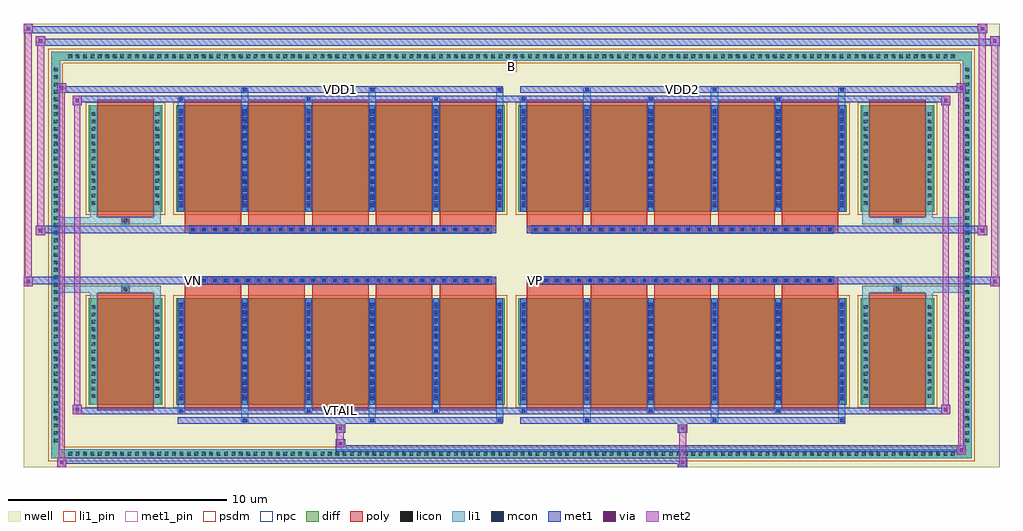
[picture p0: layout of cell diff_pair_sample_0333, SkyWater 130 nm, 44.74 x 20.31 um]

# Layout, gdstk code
import gdstk
lib = gdstk.Library(unit=1e-6, precision=5e-09)
def R(c, l, rs):  # rectangles x0, y0, x1, y1
    for r in rs: c.add(gdstk.rectangle(r[:2], r[2:], *l))
def A(c, l, x, y, w, h, nx, ny, dx, dy):  # array of equal rectangles
    R(c, l, [(x+i*dx, y+j*dy, x+i*dx+w, y+j*dy+h) for i in range(nx) for j in range(ny)])
def P(c, l, *ps):  # polygons
    for p in ps: c.add(gdstk.Polygon(p, *l))
nwell = (64, 20)
diff = (65, 20)
poly = (66, 20)
licon = (66, 44)
li1_pin = (67, 16)
li1 = (67, 20)
mcon = (67, 44)
met1_pin = (68, 16)
met1 = (68, 20)
via = (68, 44)
met2 = (69, 20)
psdm = (94, 20)
npc = (95, 20)

diff_pair_sample_0333 = lib.new_cell('diff_pair_sample_0333')
R(diff_pair_sample_0333, nwell, [(-22.37,-9.72,22.37,10.59), (-19.69,-7.91,-0.01,-0.805), (0.01,-7.91,19.69,-0.805), (-19.69,0.805,-0.01,7.91), (0.01,0.805,19.69,7.91)])
A(diff_pair_sample_0333, diff, -20.435, -9.32, 0.41, 0.41, 120, 2, 0.34, 18.23)
A(diff_pair_sample_0333, diff, -21.1, -8.705, 0.41, 0.41, 1, 51, 0, 0.34)
A(diff_pair_sample_0333, diff, 20.69, -8.705, 0.41, 0.41, 1, 51, 0, 0.34)
R(diff_pair_sample_0333, diff, [(-20.435,-9.32,20.435,-8.91), (-21.1,-8.705,-20.69,8.705), (20.69,-8.705,21.1,8.705), (-19.38,-6.865,-16.01,-1.985), (-15.37,-6.865,-0.32,-1.985), (0.32,-6.865,15.37,-1.985), (16.01,-6.865,19.38,-1.985), (-19.38,1.985,-16.01,6.865), (-15.37,1.985,-0.32,6.865), (0.32,1.985,15.37,6.865), (16.01,1.985,19.38,6.865), (-20.435,8.91,20.435,9.32)])
P(diff_pair_sample_0333, diff, [(21.1,9.32),(-21.1,9.32),(-21.1,-8.91),(-20.69,-8.91),(-20.69,8.91),(20.69,8.91),(20.69,-8.91),(-20.69,-8.91),(-21.1,-8.91),(-21.1,-9.32),(21.1,-9.32)])
A(diff_pair_sample_0333, poly, -14.98, -7.115, 2.59, 5.38, 5, 2, 2.92, 8.85)
A(diff_pair_sample_0333, poly, 0.71, -7.115, 2.59, 5.38, 5, 2, 2.92, 8.85)
A(diff_pair_sample_0333, poly, -14.98, -1.735, 2.59, 0.4, 5, 2, 2.92, 3.07)
A(diff_pair_sample_0333, poly, 0.71, -1.735, 2.59, 0.4, 5, 2, 2.92, 3.07)
A(diff_pair_sample_0333, poly, -14.76, -1.335, 0.33, 0.33, 28, 2, 0.5, 2.34)
A(diff_pair_sample_0333, poly, 0.93, -1.335, 0.33, 0.33, 28, 2, 0.5, 2.34)
R(diff_pair_sample_0333, poly, [(-18.99,-7.115,-16.4,-1.735), (16.4,-7.115,18.99,-1.735), (-17.86,-1.735,-17.53,-1.405), (-17.86,-1.735,-17.53,-1.405), (17.53,-1.735,17.86,-1.405), (17.53,-1.735,17.86,-1.405), (-14.98,-1.335,-0.71,-1.005), (0.71,-1.335,14.98,-1.005), (-14.98,1.005,-0.71,1.335), (0.71,1.005,14.98,1.335), (-17.86,1.405,-17.53,1.735), (-17.86,1.405,-17.53,1.735), (17.53,1.405,17.86,1.735), (17.53,1.405,17.86,1.735), (-18.99,1.735,-16.4,7.115), (16.4,1.735,18.99,7.115)])
A(diff_pair_sample_0333, licon, -20.315, -9.2, 0.17, 0.17, 120, 2, 0.34, 18.23)
A(diff_pair_sample_0333, licon, -20.98, -8.585, 0.17, 0.17, 1, 51, 0, 0.34)
A(diff_pair_sample_0333, licon, 20.81, -8.585, 0.17, 0.17, 1, 51, 0, 0.34)
A(diff_pair_sample_0333, licon, -19.24, -6.55, 0.17, 0.17, 1, 13, 0, 0.34)
A(diff_pair_sample_0333, licon, -16.32, -6.55, 0.17, 0.17, 1, 13, 0, 0.34)
A(diff_pair_sample_0333, licon, -15.23, -6.55, 0.17, 0.17, 6, 13, 2.92, 0.34)
A(diff_pair_sample_0333, licon, 0.46, -6.55, 0.17, 0.17, 6, 13, 2.92, 0.34)
A(diff_pair_sample_0333, licon, 16.15, -6.55, 0.17, 0.17, 1, 13, 0, 0.34)
A(diff_pair_sample_0333, licon, 19.07, -6.55, 0.17, 0.17, 1, 13, 0, 0.34)
A(diff_pair_sample_0333, licon, -14.68, -1.255, 0.17, 0.17, 28, 2, 0.5, 2.34)
A(diff_pair_sample_0333, licon, 1.01, -1.255, 0.17, 0.17, 28, 2, 0.5, 2.34)
A(diff_pair_sample_0333, licon, -19.24, 2.3, 0.17, 0.17, 1, 13, 0, 0.34)
A(diff_pair_sample_0333, licon, -16.32, 2.3, 0.17, 0.17, 1, 13, 0, 0.34)
A(diff_pair_sample_0333, licon, -15.23, 2.3, 0.17, 0.17, 6, 13, 2.92, 0.34)
A(diff_pair_sample_0333, licon, 0.46, 2.3, 0.17, 0.17, 6, 13, 2.92, 0.34)
A(diff_pair_sample_0333, licon, 16.15, 2.3, 0.17, 0.17, 1, 13, 0, 0.34)
A(diff_pair_sample_0333, licon, 19.07, 2.3, 0.17, 0.17, 1, 13, 0, 0.34)
R(diff_pair_sample_0333, licon, [(-17.78,-1.655,-17.61,-1.485), (17.61,-1.655,17.78,-1.485), (-17.78,1.485,-17.61,1.655), (17.61,1.485,17.78,1.655)])
R(diff_pair_sample_0333, li1_pin, [(-0.25,8.41,0.25,8.91)])
A(diff_pair_sample_0333, li1, -20.395, -9.28, 0.33, 0.33, 120, 2, 0.34, 18.23)
A(diff_pair_sample_0333, li1, -21.06, -8.665, 0.33, 0.33, 1, 51, 0, 0.34)
A(diff_pair_sample_0333, li1, 20.73, -8.665, 0.33, 0.33, 1, 51, 0, 0.34)
A(diff_pair_sample_0333, li1, -12.39, -7.67, 0.33, 0.805, 3, 2, 5.84, 14.535)
A(diff_pair_sample_0333, li1, -12.31, -7.67, 0.17, 0.17, 3, 2, 5.84, 15.17)
A(diff_pair_sample_0333, li1, 3.3, -7.67, 0.33, 0.805, 3, 2, 5.84, 14.535)
A(diff_pair_sample_0333, li1, 3.38, -7.67, 0.17, 0.17, 3, 2, 5.84, 15.17)
A(diff_pair_sample_0333, li1, -15.31, -7.24, 0.33, 0.375, 3, 2, 5.84, 14.105)
A(diff_pair_sample_0333, li1, -15.23, -7.24, 0.17, 0.17, 3, 2, 5.84, 14.31)
A(diff_pair_sample_0333, li1, 0.38, -7.24, 0.33, 0.375, 3, 2, 5.84, 14.105)
A(diff_pair_sample_0333, li1, 0.46, -7.24, 0.17, 0.17, 3, 2, 5.84, 14.31)
A(diff_pair_sample_0333, li1, -15.31, -6.865, 0.33, 4.88, 6, 2, 2.92, 8.85)
A(diff_pair_sample_0333, li1, 0.38, -6.865, 0.33, 4.88, 6, 2, 2.92, 8.85)
A(diff_pair_sample_0333, li1, -15.23, -6.67, 0.17, 0.17, 6, 13, 2.92, 0.36)
A(diff_pair_sample_0333, li1, -15.23, -6.67, 0.17, 4.49, 6, 2, 2.92, 8.85)
A(diff_pair_sample_0333, li1, 0.46, -6.67, 0.17, 0.17, 6, 13, 2.92, 0.36)
A(diff_pair_sample_0333, li1, 0.46, -6.67, 0.17, 4.49, 6, 2, 2.92, 8.85)
A(diff_pair_sample_0333, li1, -19.32, -6.63, 0.33, 0.33, 1, 13, 0, 0.34)
A(diff_pair_sample_0333, li1, -16.4, -6.63, 0.33, 0.33, 1, 13, 0, 0.34)
A(diff_pair_sample_0333, li1, -15.31, -6.63, 0.33, 0.33, 6, 13, 2.92, 0.34)
A(diff_pair_sample_0333, li1, 0.38, -6.63, 0.33, 0.33, 6, 13, 2.92, 0.34)
A(diff_pair_sample_0333, li1, 16.07, -6.63, 0.33, 0.33, 1, 13, 0, 0.34)
A(diff_pair_sample_0333, li1, 18.99, -6.63, 0.33, 0.33, 1, 13, 0, 0.34)
A(diff_pair_sample_0333, li1, -14.76, -1.335, 0.33, 0.33, 28, 2, 0.5, 2.34)
A(diff_pair_sample_0333, li1, 0.93, -1.335, 0.33, 0.33, 28, 2, 0.5, 2.34)
A(diff_pair_sample_0333, li1, -15.23, 2.18, 0.17, 0.17, 6, 13, 2.92, 0.36)
A(diff_pair_sample_0333, li1, 0.46, 2.18, 0.17, 0.17, 6, 13, 2.92, 0.36)
A(diff_pair_sample_0333, li1, -19.32, 2.22, 0.33, 0.33, 1, 13, 0, 0.34)
A(diff_pair_sample_0333, li1, -16.4, 2.22, 0.33, 0.33, 1, 13, 0, 0.34)
A(diff_pair_sample_0333, li1, -15.31, 2.22, 0.33, 0.33, 6, 13, 2.92, 0.34)
A(diff_pair_sample_0333, li1, 0.38, 2.22, 0.33, 0.33, 6, 13, 2.92, 0.34)
A(diff_pair_sample_0333, li1, 16.07, 2.22, 0.33, 0.33, 1, 13, 0, 0.34)
A(diff_pair_sample_0333, li1, 18.99, 2.22, 0.33, 0.33, 1, 13, 0, 0.34)
R(diff_pair_sample_0333, li1, [(-21.1,-9.32,-20.69,-8.91), (-21.1,-9.32,-20.69,-8.91), (-20.69,-9.32,20.69,-8.91), (20.69,-9.32,21.1,-8.91), (20.69,-9.32,21.1,-8.91), (-21.1,-8.91,-20.69,8.91), (20.69,-8.91,21.1,8.91), (-19.32,-6.865,-18.99,-1.985), (-16.4,-6.865,-16.07,-1.985), (16.07,-6.865,16.4,-1.985), (18.99,-6.865,19.32,-1.985), (-19.32,-1.985,-18.99,-1.405), (-16.4,-1.985,-16.07,-1.405), (16.07,-1.985,16.4,-1.405), (18.99,-1.985,19.32,-1.405), (-21.1,-1.735,-17.86,-1.405), (-19.32,-1.735,-17.86,-1.405), (-17.86,-1.735,-17.53,-1.405), (-17.53,-1.735,-16.07,-1.405), (16.07,-1.735,17.53,-1.405), (17.53,-1.735,17.86,-1.405), (17.53,-1.735,21.1,-1.405), (17.86,-1.735,19.32,-1.405), (-21.1,1.405,-17.86,1.735), (-19.32,1.405,-17.86,1.735), (-19.32,1.405,-18.99,1.985), (-17.86,1.405,-17.53,1.735), (-17.53,1.405,-16.07,1.735), (-16.4,1.405,-16.07,1.985), (16.07,1.405,17.53,1.735), (16.07,1.405,16.4,1.985), (17.53,1.405,17.86,1.735), (17.53,1.405,21.1,1.735), (17.86,1.405,19.32,1.735), (18.99,1.405,19.32,1.985), (-19.32,1.985,-18.99,6.865), (-16.4,1.985,-16.07,6.865), (16.07,1.985,16.4,6.865), (18.99,1.985,19.32,6.865), (-21.1,8.91,-20.69,9.32), (-21.1,8.91,-20.69,9.32), (-20.69,8.91,20.69,9.32), (20.69,8.91,21.1,9.32), (20.69,8.91,21.1,9.32)])
A(diff_pair_sample_0333, mcon, -12.31, -7.67, 0.17, 0.17, 3, 2, 5.84, 15.17)
A(diff_pair_sample_0333, mcon, 3.38, -7.67, 0.17, 0.17, 3, 2, 5.84, 15.17)
A(diff_pair_sample_0333, mcon, -15.23, -7.24, 0.17, 0.17, 3, 2, 5.84, 14.31)
A(diff_pair_sample_0333, mcon, 0.46, -7.24, 0.17, 0.17, 3, 2, 5.84, 14.31)
A(diff_pair_sample_0333, mcon, -15.23, -6.67, 0.17, 0.17, 6, 13, 2.92, 0.36)
A(diff_pair_sample_0333, mcon, 0.46, -6.67, 0.17, 0.17, 6, 13, 2.92, 0.36)
A(diff_pair_sample_0333, mcon, -14.68, -1.255, 0.17, 0.17, 28, 2, 0.5, 2.34)
A(diff_pair_sample_0333, mcon, 1.01, -1.255, 0.17, 0.17, 28, 2, 0.5, 2.34)
A(diff_pair_sample_0333, mcon, -15.23, 2.18, 0.17, 0.17, 6, 13, 2.92, 0.36)
A(diff_pair_sample_0333, mcon, 0.46, 2.18, 0.17, 0.17, 6, 13, 2.92, 0.36)
R(diff_pair_sample_0333, met1_pin, [(-7.98,-7.28,-7.71,-7.01), (-14.73,-1.295,-14.46,-1.025), (0.96,-1.295,1.23,-1.025), (-7.98,7.46,-7.71,7.73), (7.71,7.46,7.98,7.73)])
A(diff_pair_sample_0333, met1, -12.37, -7.73, 0.29, 0.29, 3, 2, 5.84, 15.17)
A(diff_pair_sample_0333, met1, 3.32, -7.73, 0.29, 0.29, 3, 2, 5.84, 15.17)
A(diff_pair_sample_0333, met1, -15.29, -7.3, 0.29, 0.29, 3, 2, 5.84, 14.31)
A(diff_pair_sample_0333, met1, 0.4, -7.3, 0.29, 0.29, 3, 2, 5.84, 14.31)
A(diff_pair_sample_0333, met1, -15.29, -6.865, 0.29, 4.88, 6, 2, 2.92, 8.85)
A(diff_pair_sample_0333, met1, 0.4, -6.865, 0.29, 4.88, 6, 2, 2.92, 8.85)
A(diff_pair_sample_0333, met1, -15.29, -6.73, 0.29, 0.29, 6, 13, 2.92, 0.36)
A(diff_pair_sample_0333, met1, 0.4, -6.73, 0.29, 0.29, 6, 13, 2.92, 0.36)
A(diff_pair_sample_0333, met1, -14.74, -1.315, 0.29, 0.29, 28, 2, 0.5, 2.34)
A(diff_pair_sample_0333, met1, 0.95, -1.315, 0.29, 0.29, 28, 2, 0.5, 2.34)
A(diff_pair_sample_0333, met1, -15.29, 2.12, 0.29, 0.29, 6, 13, 2.92, 0.36)
A(diff_pair_sample_0333, met1, 0.4, 2.12, 0.29, 0.29, 6, 13, 2.92, 0.36)
R(diff_pair_sample_0333, met1, [(-20.83,-9.72,-20.4,-9.29), (7.63,-9.72,8.06,-9.29), (-20.83,-9.58,8.06,-9.29), (20.4,-9.15,20.83,-8.72), (-8.06,-9.01,20.83,-8.72), (-8.06,-8.87,-7.63,-8.44), (-8.06,-8.16,-7.63,-7.73), (7.63,-8.16,8.06,-7.73), (-15.29,-7.73,-0.4,-7.44), (0.4,-7.73,15.29,-7.44), (-20.12,-7.3,-19.69,-6.87), (-20.12,-7.3,-15.29,-7.01), (-15.29,-7.3,-0.4,-7.01), (-0.4,-7.3,0.4,-7.01), (0.4,-7.3,15.29,-7.01), (15.29,-7.3,20.12,-7.01), (19.69,-7.3,20.12,-6.87), (-22.37,-1.435,-21.94,-1.005), (21.94,-1.435,22.37,-1.005), (-22.37,-1.335,-0.71,-1.005), (-14.98,-1.335,-0.71,-1.005), (0.71,-1.335,14.98,-1.005), (0.71,-1.335,22.37,-1.005), (-21.8,0.905,-21.37,1.335), (21.37,0.905,21.8,1.335), (-21.8,1.005,-14.98,1.335), (-14.98,1.005,-0.71,1.335), (0.71,1.005,14.98,1.335), (14.98,1.005,21.8,1.335), (-20.12,6.87,-19.69,7.3), (19.69,6.87,20.12,7.3), (-20.12,7.01,-15.29,7.3), (-15.29,7.01,-0.4,7.3), (-0.4,7.01,0.4,7.3), (0.4,7.01,15.29,7.3), (15.29,7.01,20.12,7.3), (-20.83,7.44,-20.4,7.87), (-20.83,7.44,-15.29,7.73), (-15.29,7.44,-0.4,7.73), (0.4,7.44,15.29,7.73), (15.29,7.44,20.83,7.73), (20.4,7.44,20.83,7.87), (-21.8,9.59,-21.37,10.02), (-21.8,9.59,-19.69,9.92), (-19.69,9.59,19.69,9.92), (19.69,9.59,22.37,9.92), (21.94,9.59,22.37,10.02), (-22.37,10.16,-21.94,10.59), (-22.37,10.16,-19.69,10.49), (-19.69,10.16,19.69,10.49), (19.69,10.16,21.8,10.49), (21.37,10.16,21.8,10.59)])
R(diff_pair_sample_0333, via, [(-20.69,-9.58,-20.54,-9.43), (7.77,-9.58,7.92,-9.43), (20.54,-9.01,20.69,-8.86), (-7.92,-8.73,-7.77,-8.58), (-7.92,-8.02,-7.77,-7.87), (7.77,-8.02,7.92,-7.87), (-19.98,-7.16,-19.83,-7.01), (19.83,-7.16,19.98,-7.01), (-22.23,-1.295,-22.08,-1.145), (22.08,-1.295,22.23,-1.145), (-21.66,1.045,-21.51,1.195), (21.51,1.045,21.66,1.195), (-19.98,7.01,-19.83,7.16), (19.83,7.01,19.98,7.16), (-20.69,7.58,-20.54,7.73), (20.54,7.58,20.69,7.73), (-21.66,9.73,-21.51,9.88), (22.08,9.73,22.23,9.88), (-22.23,10.3,-22.08,10.45), (21.51,10.3,21.66,10.45)])
R(diff_pair_sample_0333, met2, [(-20.83,-9.72,-20.4,-9.29), (-20.76,-9.72,-20.47,7.87), (-20.47,-9.72,-20.4,-9.29), (-20.78,-9.67,-20.45,-9.34), (7.68,-9.67,8.01,-9.34), (7.68,-9.34,8.01,-8.11), (20.4,-9.15,20.83,-8.72), (20.47,-9.15,20.76,7.87), (20.76,-9.15,20.83,-8.72), (20.45,-9.1,20.78,-8.77), (-8.01,-8.82,-7.68,-8.49), (-8.01,-8.49,-7.68,-8.11), (-8.01,-8.11,-7.68,-7.78), (7.68,-8.11,8.01,-7.78), (-20.12,-7.3,-19.69,-6.87), (-20.05,-7.3,-19.76,7.3), (-19.76,-7.3,-19.69,-6.87), (19.69,-7.3,20.12,-6.87), (19.76,-7.3,20.05,7.3), (20.05,-7.3,20.12,-6.87), (-20.07,-7.25,-19.74,-6.92), (19.74,-7.25,20.07,-6.92), (-22.37,-1.435,-21.94,-1.005), (-22.32,-1.435,-21.99,10.59), (-21.99,-1.435,-21.94,-1.005), (21.94,-1.435,22.37,-1.005), (21.99,-1.435,22.32,10.02), (22.32,-1.435,22.37,-1.005), (-22.32,-1.385,-21.99,-1.055), (21.99,-1.385,22.32,-1.055), (-21.8,0.905,-21.37,1.335), (-21.75,0.905,-21.42,10.02), (-21.42,0.905,-21.37,1.335), (21.37,0.905,21.8,1.335), (21.42,0.905,21.75,10.59), (21.75,0.905,21.8,1.335), (-21.75,0.955,-21.42,1.285), (21.42,0.955,21.75,1.285), (-20.12,6.87,-19.69,7.3), (-19.76,6.87,-19.69,7.3), (19.69,6.87,20.12,7.3), (20.05,6.87,20.12,7.3), (-20.07,6.92,-19.74,7.25), (19.74,6.92,20.07,7.25), (-20.83,7.44,-20.4,7.87), (-20.47,7.44,-20.4,7.87), (20.4,7.44,20.83,7.87), (20.76,7.44,20.83,7.87), (-20.78,7.49,-20.45,7.82), (20.45,7.49,20.78,7.82), (-21.8,9.59,-21.37,10.02), (-21.42,9.59,-21.37,10.02), (21.94,9.59,22.37,10.02), (22.32,9.59,22.37,10.02), (-21.75,9.64,-21.42,9.97), (21.99,9.64,22.32,9.97), (-22.37,10.16,-21.94,10.59), (-21.99,10.16,-21.94,10.59), (21.37,10.16,21.8,10.59), (21.75,10.16,21.8,10.59), (-22.32,10.21,-21.99,10.54), (21.42,10.21,21.75,10.54)])
R(diff_pair_sample_0333, psdm, [(-19.51,-6.995,-15.88,-1.855), (-15.5,-6.995,-0.19,-1.855), (0.19,-6.995,15.5,-1.855), (15.88,-6.995,19.51,-1.855), (-19.51,1.855,-15.88,6.995), (-15.5,1.855,-0.19,6.995), (0.19,1.855,15.5,6.995), (15.88,1.855,19.51,6.995)])
P(diff_pair_sample_0333, psdm, [(21.23,9.45),(-21.23,9.45),(-21.23,-8.78),(-20.56,-8.78),(-20.56,8.78),(20.56,8.78),(20.56,-8.78),(-20.56,-8.78),(-21.23,-8.78),(-21.23,-9.45),(21.23,-9.45)])
A(diff_pair_sample_0333, npc, -14.78, -1.355, 0.37, 0.37, 28, 2, 0.5, 2.34)
A(diff_pair_sample_0333, npc, 0.91, -1.355, 0.37, 0.37, 28, 2, 0.5, 2.34)
R(diff_pair_sample_0333, npc, [(-17.88,-1.755,-17.51,-1.385), (17.51,-1.755,17.88,-1.385), (-14.78,-1.355,-13.91,-0.985), (-14.78,-1.355,-13.91,-0.985), (-14.28,-1.355,-13.41,-0.985), (-14.28,-1.355,-13.41,-0.985), (-13.78,-1.355,-12.91,-0.985), (-13.78,-1.355,-12.91,-0.985), (-13.28,-1.355,-12.41,-0.985), (-13.28,-1.355,-12.41,-0.985), (-12.78,-1.355,-11.91,-0.985), (-12.78,-1.355,-11.91,-0.985), (-12.28,-1.355,-11.41,-0.985), (-12.28,-1.355,-11.41,-0.985), (-11.78,-1.355,-10.91,-0.985), (-11.78,-1.355,-10.91,-0.985), (-11.28,-1.355,-10.41,-0.985), (-11.28,-1.355,-10.41,-0.985), (-10.78,-1.355,-9.91,-0.985), (-10.78,-1.355,-9.91,-0.985), (-10.28,-1.355,-9.41,-0.985), (-10.28,-1.355,-9.41,-0.985), (-9.78,-1.355,-8.91,-0.985), (-9.78,-1.355,-8.91,-0.985), (-9.28,-1.355,-8.41,-0.985), (-9.28,-1.355,-8.41,-0.985), (-8.78,-1.355,-7.91,-0.985), (-8.78,-1.355,-7.91,-0.985), (-8.28,-1.355,-7.41,-0.985), (-8.28,-1.355,-7.41,-0.985), (-7.78,-1.355,-6.91,-0.985), (-7.78,-1.355,-6.91,-0.985), (-7.28,-1.355,-6.41,-0.985), (-7.28,-1.355,-6.41,-0.985), (-6.78,-1.355,-5.91,-0.985), (-6.78,-1.355,-5.91,-0.985), (-6.28,-1.355,-5.41,-0.985), (-6.28,-1.355,-5.41,-0.985), (-5.78,-1.355,-4.91,-0.985), (-5.78,-1.355,-4.91,-0.985), (-5.28,-1.355,-4.41,-0.985), (-5.28,-1.355,-4.41,-0.985), (-4.78,-1.355,-3.91,-0.985), (-4.78,-1.355,-3.91,-0.985), (-4.28,-1.355,-3.41,-0.985), (-4.28,-1.355,-3.41,-0.985), (-3.78,-1.355,-2.91,-0.985), (-3.78,-1.355,-2.91,-0.985), (-3.28,-1.355,-2.41,-0.985), (-3.28,-1.355,-2.41,-0.985), (-2.78,-1.355,-1.91,-0.985), (-2.78,-1.355,-1.91,-0.985), (-2.28,-1.355,-1.41,-0.985), (-2.28,-1.355,-1.41,-0.985), (-1.78,-1.355,-0.91,-0.985), (-1.78,-1.355,-0.91,-0.985), (0.91,-1.355,1.78,-0.985), (0.91,-1.355,1.78,-0.985), (1.41,-1.355,2.28,-0.985), (1.41,-1.355,2.28,-0.985), (1.91,-1.355,2.78,-0.985), (1.91,-1.355,2.78,-0.985), (2.41,-1.355,3.28,-0.985), (2.41,-1.355,3.28,-0.985), (2.91,-1.355,3.78,-0.985), (2.91,-1.355,3.78,-0.985), (3.41,-1.355,4.28,-0.985), (3.41,-1.355,4.28,-0.985), (3.91,-1.355,4.78,-0.985), (3.91,-1.355,4.78,-0.985), (4.41,-1.355,5.28,-0.985), (4.41,-1.355,5.28,-0.985), (4.91,-1.355,5.78,-0.985), (4.91,-1.355,5.78,-0.985), (5.41,-1.355,6.28,-0.985), (5.41,-1.355,6.28,-0.985), (5.91,-1.355,6.78,-0.985), (5.91,-1.355,6.78,-0.985), (6.41,-1.355,7.28,-0.985), (6.41,-1.355,7.28,-0.985), (6.91,-1.355,7.78,-0.985), (6.91,-1.355,7.78,-0.985), (7.41,-1.355,8.28,-0.985), (7.41,-1.355,8.28,-0.985), (7.91,-1.355,8.78,-0.985), (7.91,-1.355,8.78,-0.985), (8.41,-1.355,9.28,-0.985), (8.41,-1.355,9.28,-0.985), (8.91,-1.355,9.78,-0.985), (8.91,-1.355,9.78,-0.985), (9.41,-1.355,10.28,-0.985), (9.41,-1.355,10.28,-0.985), (9.91,-1.355,10.78,-0.985), (9.91,-1.355,10.78,-0.985), (10.41,-1.355,11.28,-0.985), (10.41,-1.355,11.28,-0.985), (10.91,-1.355,11.78,-0.985), (10.91,-1.355,11.78,-0.985), (11.41,-1.355,12.28,-0.985), (11.41,-1.355,12.28,-0.985), (11.91,-1.355,12.78,-0.985), (11.91,-1.355,12.78,-0.985), (12.41,-1.355,13.28,-0.985), (12.41,-1.355,13.28,-0.985), (12.91,-1.355,13.78,-0.985), (12.91,-1.355,13.78,-0.985), (13.41,-1.355,14.28,-0.985), (13.41,-1.355,14.28,-0.985), (13.91,-1.355,14.78,-0.985), (13.91,-1.355,14.78,-0.985), (-14.78,0.985,-13.91,1.355), (-14.78,0.985,-13.91,1.355), (-14.28,0.985,-13.41,1.355), (-14.28,0.985,-13.41,1.355), (-13.78,0.985,-12.91,1.355), (-13.78,0.985,-12.91,1.355), (-13.28,0.985,-12.41,1.355), (-13.28,0.985,-12.41,1.355), (-12.78,0.985,-11.91,1.355), (-12.78,0.985,-11.91,1.355), (-12.28,0.985,-11.41,1.355), (-12.28,0.985,-11.41,1.355), (-11.78,0.985,-10.91,1.355), (-11.78,0.985,-10.91,1.355), (-11.28,0.985,-10.41,1.355), (-11.28,0.985,-10.41,1.355), (-10.78,0.985,-9.91,1.355), (-10.78,0.985,-9.91,1.355), (-10.28,0.985,-9.41,1.355), (-10.28,0.985,-9.41,1.355), (-9.78,0.985,-8.91,1.355), (-9.78,0.985,-8.91,1.355), (-9.28,0.985,-8.41,1.355), (-9.28,0.985,-8.41,1.355), (-8.78,0.985,-7.91,1.355), (-8.78,0.985,-7.91,1.355), (-8.28,0.985,-7.41,1.355), (-8.28,0.985,-7.41,1.355), (-7.78,0.985,-6.91,1.355), (-7.78,0.985,-6.91,1.355), (-7.28,0.985,-6.41,1.355), (-7.28,0.985,-6.41,1.355), (-6.78,0.985,-5.91,1.355), (-6.78,0.985,-5.91,1.355), (-6.28,0.985,-5.41,1.355), (-6.28,0.985,-5.41,1.355), (-5.78,0.985,-4.91,1.355), (-5.78,0.985,-4.91,1.355), (-5.28,0.985,-4.41,1.355), (-5.28,0.985,-4.41,1.355), (-4.78,0.985,-3.91,1.355), (-4.78,0.985,-3.91,1.355), (-4.28,0.985,-3.41,1.355), (-4.28,0.985,-3.41,1.355), (-3.78,0.985,-2.91,1.355), (-3.78,0.985,-2.91,1.355), (-3.28,0.985,-2.41,1.355), (-3.28,0.985,-2.41,1.355), (-2.78,0.985,-1.91,1.355), (-2.78,0.985,-1.91,1.355), (-2.28,0.985,-1.41,1.355), (-2.28,0.985,-1.41,1.355), (-1.78,0.985,-0.91,1.355), (-1.78,0.985,-0.91,1.355), (0.91,0.985,1.78,1.355), (0.91,0.985,1.78,1.355), (1.41,0.985,2.28,1.355), (1.41,0.985,2.28,1.355), (1.91,0.985,2.78,1.355), (1.91,0.985,2.78,1.355), (2.41,0.985,3.28,1.355), (2.41,0.985,3.28,1.355), (2.91,0.985,3.78,1.355), (2.91,0.985,3.78,1.355), (3.41,0.985,4.28,1.355), (3.41,0.985,4.28,1.355), (3.91,0.985,4.78,1.355), (3.91,0.985,4.78,1.355), (4.41,0.985,5.28,1.355), (4.41,0.985,5.28,1.355), (4.91,0.985,5.78,1.355), (4.91,0.985,5.78,1.355), (5.41,0.985,6.28,1.355), (5.41,0.985,6.28,1.355), (5.91,0.985,6.78,1.355), (5.91,0.985,6.78,1.355), (6.41,0.985,7.28,1.355), (6.41,0.985,7.28,1.355), (6.91,0.985,7.78,1.355), (6.91,0.985,7.78,1.355), (7.41,0.985,8.28,1.355), (7.41,0.985,8.28,1.355), (7.91,0.985,8.78,1.355), (7.91,0.985,8.78,1.355), (8.41,0.985,9.28,1.355), (8.41,0.985,9.28,1.355), (8.91,0.985,9.78,1.355), (8.91,0.985,9.78,1.355), (9.41,0.985,10.28,1.355), (9.41,0.985,10.28,1.355), (9.91,0.985,10.78,1.355), (9.91,0.985,10.78,1.355), (10.41,0.985,11.28,1.355), (10.41,0.985,11.28,1.355), (10.91,0.985,11.78,1.355), (10.91,0.985,11.78,1.355), (11.41,0.985,12.28,1.355), (11.41,0.985,12.28,1.355), (11.91,0.985,12.78,1.355), (11.91,0.985,12.78,1.355), (12.41,0.985,13.28,1.355), (12.41,0.985,13.28,1.355), (12.91,0.985,13.78,1.355), (12.91,0.985,13.78,1.355), (13.41,0.985,14.28,1.355), (13.41,0.985,14.28,1.355), (13.91,0.985,14.78,1.355), (13.91,0.985,14.78,1.355), (-17.88,1.385,-17.51,1.755), (17.51,1.385,17.88,1.755)])
diff_pair_sample_0333.add(gdstk.Label('VTAIL', (-7.845,-7.145), layer=68, texttype=5))
diff_pair_sample_0333.add(gdstk.Label('VN', (-14.595,-1.16), layer=68, texttype=5))
diff_pair_sample_0333.add(gdstk.Label('VP', (1.095,-1.16), layer=68, texttype=5))
diff_pair_sample_0333.add(gdstk.Label('B', (0,8.66), layer=67, texttype=5))
diff_pair_sample_0333.add(gdstk.Label('VDD2', (7.845,7.595), layer=68, texttype=5))
diff_pair_sample_0333.add(gdstk.Label('VDD1', (-7.845,7.595), layer=68, texttype=5))

lib.write_gds('diff_pair_sample_0333.gds')
